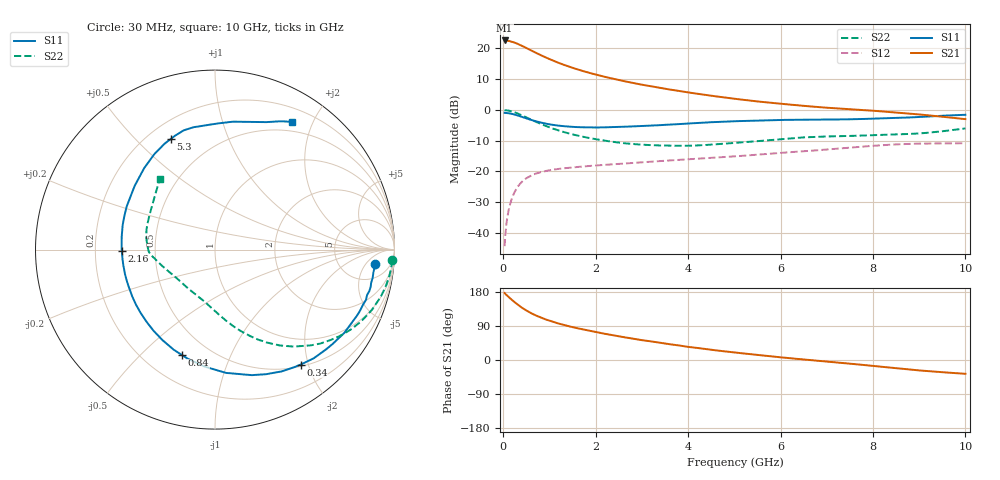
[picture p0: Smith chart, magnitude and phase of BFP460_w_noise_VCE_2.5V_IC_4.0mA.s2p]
! (c) 2016  Infineon Technologies AG, Munich
! Infineon Technologies  Discrete & RF Semiconductors
! BFP460
! VCE =  2.5 V,  IC =  4.0 mA
! Common Emitter S-Parameters:  Jan 2016
# GHz  S  MA  R  50
!  f  S11  S21  S12  S22
! GHz  MAG  ANG  MAG  ANG  MAG  ANG  MAG  ANG
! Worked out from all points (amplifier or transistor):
!   229 points, 30 MHz to 10 GHz, reference 50 ohm
!   highest |S21| = 22.6 dB at 30 MHz (marker M1)
!   |S21| within 3 dB of that: start of sweep to 573.3 MHz
!   unconditionally stable (mu >= 1): 3.282 GHz to 7.931 GHz
!   at 280 MHz: K = 0.14, MSG = 23.7 dB, |S12| = -25.8 dB
!   at 1.78 GHz: K = 0.70, MSG = 15.4 dB, |S12| = -18.3 dB
!   at 10 GHz: K = 0.95, MSG = 3.9 dB, |S12| = -10.8 dB
!   lowest NFmin = 0.75 dB at 450 MHz
!   S11 on the Smith chart (normalised r, x): 30 MHz: 11, -9; 340 MHz: 0.53, -1.87; 840 MHz: 0.36, -0.67; 2.16 GHz: 0.32, -0.01; 5.3 GHz: 0.29, +0.64; 10 GHz: 0.37, +1.71
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0.03  0.8953 -5.0  13.42 176.8  0.0061 87.1  0.9899 -3.4
0.07  0.8894 -12.0  13.41 171.3  0.0142 83.1  0.9844 -7.5
0.14  0.8761 -23.2  13.11 163.8  0.0278 76.9  0.9636 -14.9
0.195  0.8577 -32.0  12.75 157.8  0.0377 72.3  0.939 -20.4
0.26  0.8322 -41.8  12.26 151.3  0.0484 67.0  0.9045 -26.5
0.34  0.7988 -53.3  11.57 143.7  0.0598 61.3  0.8556 -33.4
0.42  0.7631 -63.8  10.84 136.8  0.0694 56.3  0.8042 -39.5
0.52  0.7191 -75.8  9.949 129.4  0.079 51.0  0.7423 -46.1
0.7  0.6548 -94.9  8.505 117.8  0.0918 43.6  0.6431 -56.1
0.84  0.6157 -107.3  7.571 110.7  0.0984 39.6  0.5794 -62.0
1  0.5831 -120.1  6.685 103.6  0.1044 36.0  0.5197 -67.9
1.2  0.5542 -133.5  5.803 96.1  0.1099 32.8  0.4622 -73.9
1.44  0.5332 -147.3  4.993 88.5  0.115 30.3  0.4103 -79.9
1.7  0.5218 -160.2  4.327 81.3  0.1197 28.5  0.369 -85.6
2.16  0.5191 -179.1  3.497 70.1  0.1274 26.4  0.3194 -94.9
2.78  0.5377 160.2  2.762 56.8  0.1374 24.7  0.2796 -108.4
3.4  0.5644 144.0  2.27 45.3  0.1474 23.6  0.2641 -122.4
5.1  0.6567 114.2  1.485 18.5  0.1775 21.2  0.2946 -158.3
5.3  0.6636 111.9  1.426 16.0  0.1824 20.8  0.302 -161.0
6.8  0.6925 96.9  1.114 -1.9  0.2208 16.2  0.3644 -177.0
8.4  0.7332 76.1  0.918 -20.6  0.2722 6.4  0.3973 164.0
10  0.8319 58.8  0.707 -36.4  0.2868 -5.2  0.4991 128.0
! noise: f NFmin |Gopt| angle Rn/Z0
0.45  0.75  0.4  17  0.18
0.9  0.77  0.41  35  0.18
1.9  1.06  0.21  94  0.13
3.5  1.3  0.35  -157  0.09
